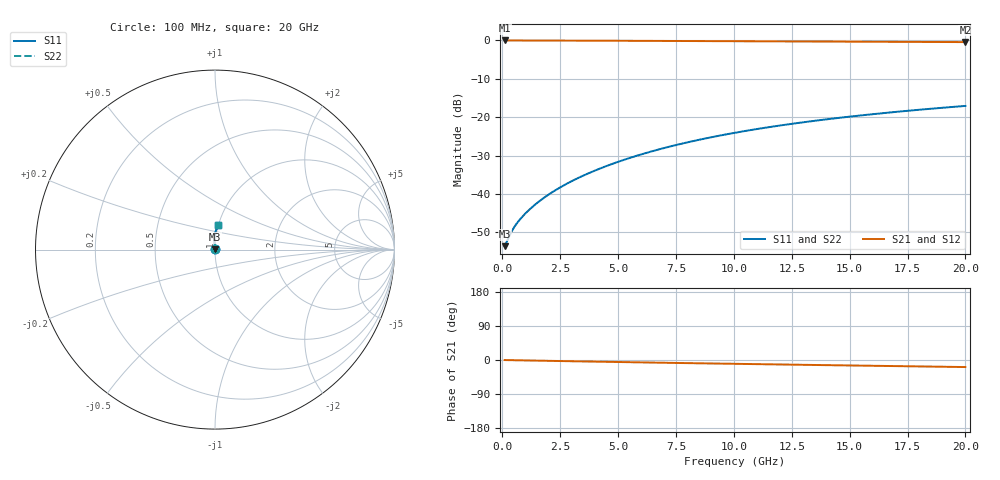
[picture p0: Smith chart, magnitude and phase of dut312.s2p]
! Touchstone file exported from HFSS 2024.1.0
!  File:  C:/UserFiles/LocalFiles/RDL_TSV_Batchsim/temp_RDL_bottom_312_1779610695.aedt
!  Generated:  04:20:37 PM May 24, 2026
!  Design:  RDL_bottom
!  Project:  temp_RDL_bottom_312_1779610695
!  Setup:  Setup1
!  Solution:  Sweep
! Variables:
!  dtsv = 10.80580581um
!  hbump = 3um
!  htsv = 96.67um
!  ldown = 284.81um
!  lrdl = 100um
!  p = 40
!  p1 = 40.61um
!  rhole = 1um
!  t = 450um
!  tdown = 2.29um
!  trdl = 3.915915916um
!  wdown = 27.97um
!  wrdl = 20um
# GHz S MA R 50.000000
! Terminal data exported
! Port[1] = RDL1_T1
! Port[2] = RDL1_T2
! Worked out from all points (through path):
!   200 points, 100 MHz to 20 GHz, reference 50 ohm
!   highest |S21| = -0.02 dB at 100 MHz (marker M1); lowest = -0.4 dB at 20 GHz (marker M2)
!   group delay of S21, straight-line fit = 2.55 ps
!   lowest |S11| = -53.6 dB at 100 MHz (marker M3), VSWR 1.00, Z = 50.2 + j0.0637 ohm
!   |S11| at or under -10 dB: start of sweep to end of sweep
!   |S22| runs from -53.6 to -17.1 dB; largest |S21 - S12| = 4.1e-15
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0.1  0.002083 17.7  0.998 -0.1  0.998 -0.1  0.002083 17.7
! Gamma 0 0 0 0
! Port Impedance 50 0 50 0
0.3  0.002811 39.4  0.9978 -0.4  0.9978 -0.4  0.002811 39.4
0.4  0.003226 45.2  0.9976 -0.5  0.9976 -0.5  0.003226 45.2
0.5  0.003631 49.5  0.9975 -0.6  0.9975 -0.6  0.003631 49.5
0.6  0.004024 53.1  0.9973 -0.7  0.9973 -0.7  0.004024 53.1
0.9  0.005178 61.3  0.997 -1.0  0.997 -1.0  0.005178 61.3
1.2  0.006361 67.5  0.9966 -1.3  0.9966 -1.3  0.006361 67.5
1.7  0.008461 75.0  0.996 -1.9  0.996 -1.9  0.008461 75.0
2.2  0.01072 80.2  0.9953 -2.4  0.9953 -2.4  0.01072 80.3
2.8  0.01364 84.8  0.9942 -3.1  0.9942 -3.1  0.01364 84.8
3.5  0.01732 88.4  0.9927 -3.8  0.9927 -3.8  0.01732 88.5
4.2  0.02128 91.0  0.9911 -4.5  0.9911 -4.5  0.02129 91.0
5  0.02616 92.9  0.989 -5.4  0.989 -5.4  0.02616 92.9
5.9  0.03203 94.2  0.9864 -6.2  0.9864 -6.2  0.03203 94.2
6.8  0.03825 94.7  0.9838 -7.1  0.9838 -7.1  0.03826 94.7
8.4  0.04996 94.5  0.9791 -8.6  0.9791 -8.6  0.04997 94.5
10.1  0.06298 93.3  0.9742 -10.2  0.9742 -10.2  0.063 93.4
11.7  0.07551 91.8  0.9698 -11.6  0.9698 -11.6  0.07553 91.8
13.4  0.08892 89.9  0.9654 -13.1  0.9654 -13.1  0.08895 89.9
15  0.1015 88.0  0.9614 -14.4  0.9614 -14.4  0.1015 88.0
16.7  0.1148 86.0  0.9574 -15.9  0.9574 -15.9  0.1148 86.0
20  0.14 82.1  0.95 -18.6  0.95 -18.6  0.1401 82.1
